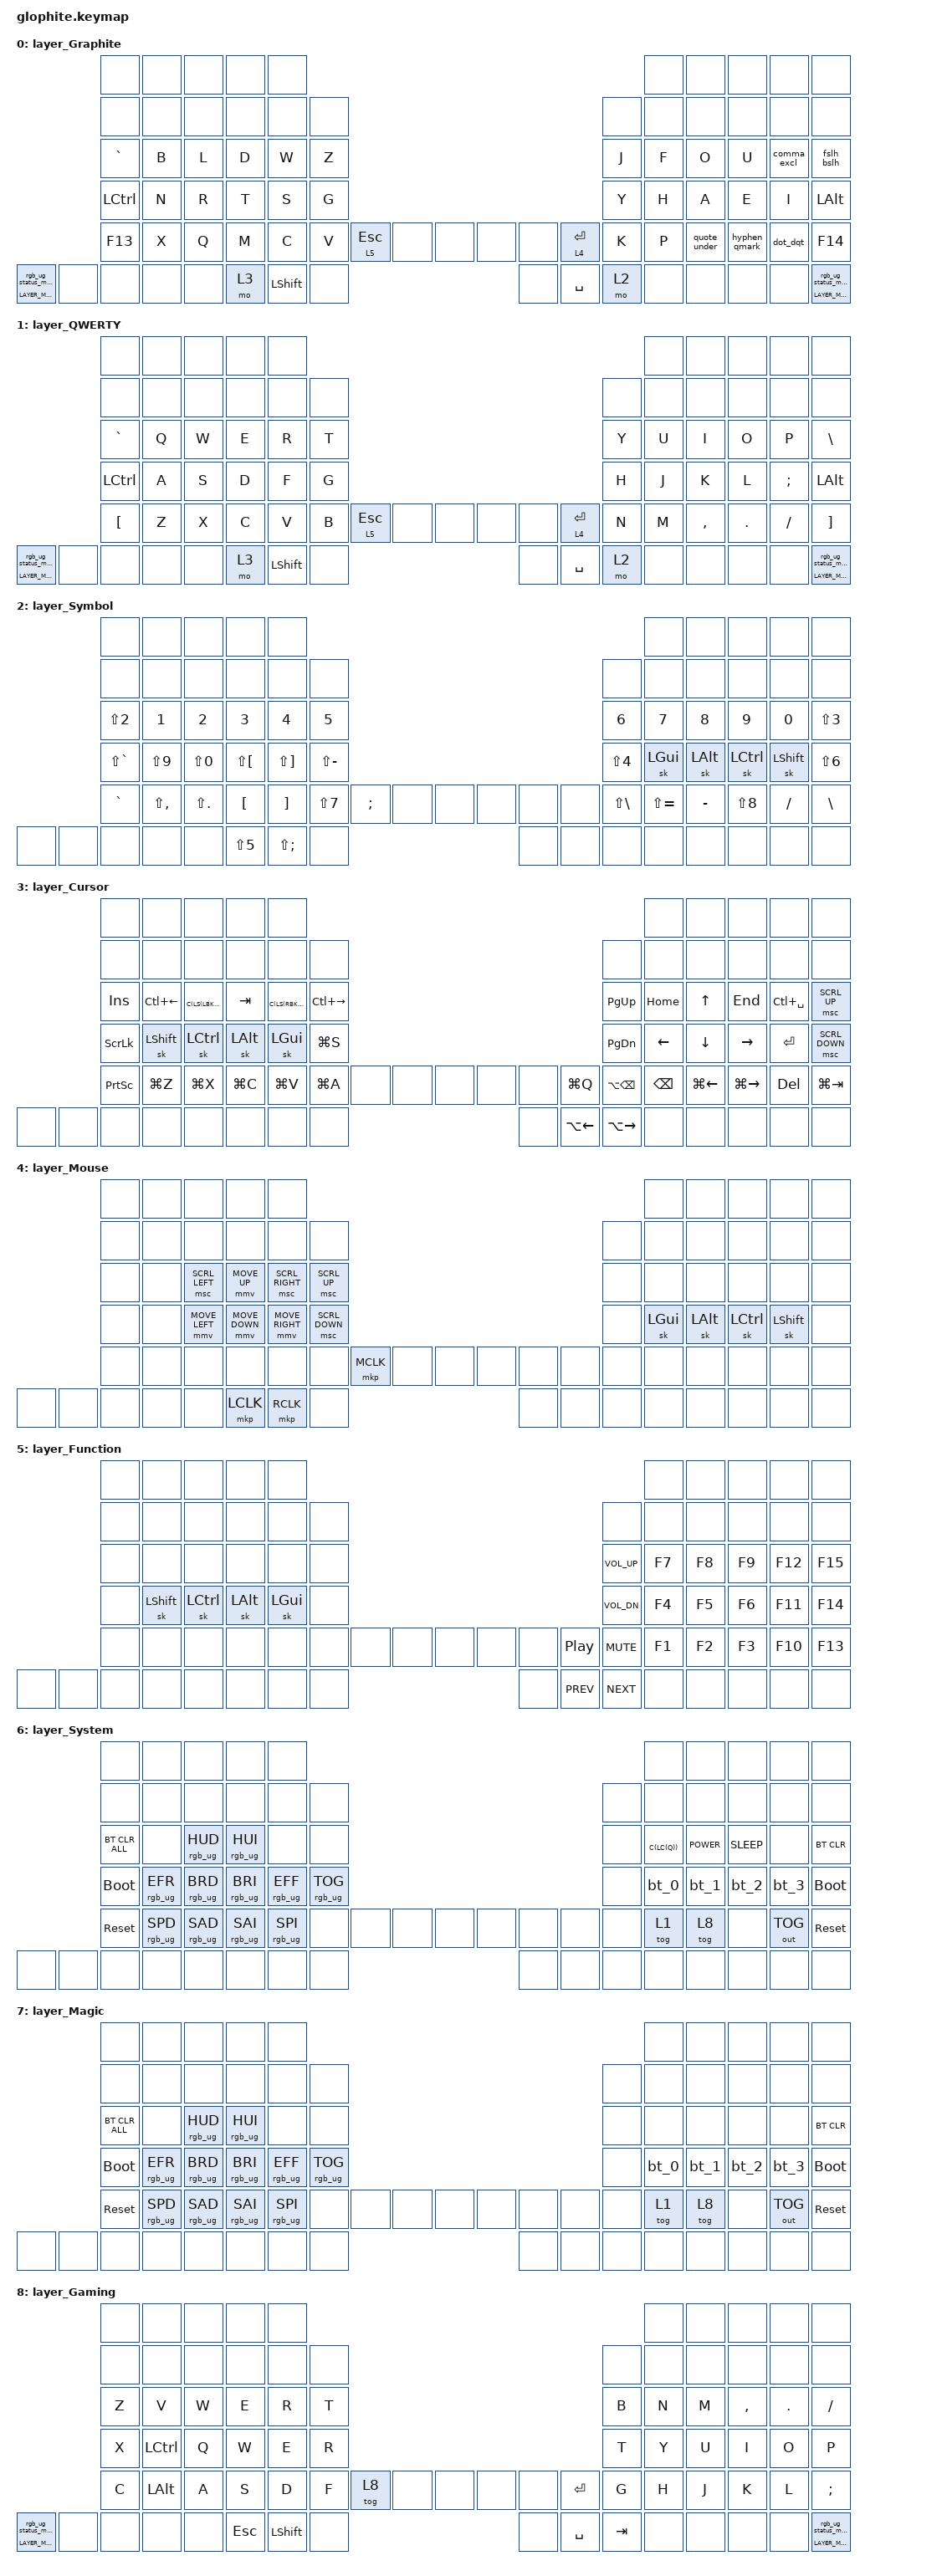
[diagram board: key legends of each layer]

/*
 * Copyright (c) 2020 The ZMK Contributors
 * Copyright (c) 2023 Innaworks Development Limited, trading as MoErgo
 *
 * SPDX-License-Identifier: MIT
 */


/* THIS FILE WAS GENERATED BY GLOVE80 LAYOUT EDITOR
 *
 * This file was generated automatically. You may or may not want to
 * edit it directly.
 */

#include <behaviors.dtsi>
/* Include all behaviour includes needed */
#include <dt-bindings/zmk/outputs.h>
#include <dt-bindings/zmk/keys.h>
#include <dt-bindings/zmk/bt.h>
#include <dt-bindings/zmk/rgb.h>

/* Automatically generated layer name #define */
#define LAYER_Graphite 0
#define LAYER_QWERTY 1
#define LAYER_Symbol 2
#define LAYER_Cursor 3
#define LAYER_Mouse 4
#define LAYER_Function 5
#define LAYER_System 6
#define LAYER_Magic 7
#define LAYER_Gaming 8

/* To deal with the situation where there is no Lower layer, to keep &lower happy */
#ifndef LAYER_Lower
#define LAYER_Lower 0
#endif

/* Custom Device-tree */



/* Glove80 system behavior & macros */
/ {
    behaviors {
        // For the "layer" key, it'd nice to be able to use it as either a shift or a toggle.
        // Configure it as a tap dance, so the first tap (or hold) is a &mo and the second tap is a &to
        lower: lower {
            compatible = "zmk,behavior-tap-dance";
            label = "LAYER_TAP_DANCE";
            #binding-cells = <0>;
            tapping-term-ms = <200>;
            bindings = <&mo LAYER_Lower>, <&to LAYER_Lower>;
        };
    };
};

/ {
    macros {
        rgb_ug_status_macro: rgb_ug_status_macro {
            label = "RGB_UG_STATUS";
            compatible = "zmk,behavior-macro";
            #binding-cells = <0>;
            bindings
                = <&rgb_ug RGB_STATUS>;
        };
    };
};


/ {
#ifdef BT_DISC_CMD
    behaviors {
        bt_0: bt_0 {
            compatible = "zmk,behavior-tap-dance";
            label = "BT_0";
            #binding-cells = <0>;
            tapping-term-ms = <200>;
            bindings = <&bt_select_0>, <&bt BT_DISC 0>;
        };
        bt_1: bt_1 {
            compatible = "zmk,behavior-tap-dance";
            label = "BT_1";
            #binding-cells = <0>;
            tapping-term-ms = <200>;
            bindings = <&bt_select_1>, <&bt BT_DISC 1>;
        };
        bt_2: bt_2 {
            compatible = "zmk,behavior-tap-dance";
            label = "BT_2";
            #binding-cells = <0>;
            tapping-term-ms = <200>;
            bindings = <&bt_select_2>, <&bt BT_DISC 2>;
        };
        bt_3: bt_3 {
            compatible = "zmk,behavior-tap-dance";
            label = "BT_3";
            #binding-cells = <0>;
            tapping-term-ms = <200>;
            bindings = <&bt_select_3>, <&bt BT_DISC 3>;
        };
    };
    macros {
        bt_select_0: bt_select_0 {
            label = "BT_SELECT_0";
            compatible = "zmk,behavior-macro";
            #binding-cells = <0>;
            bindings
                = <&out OUT_BLE>,
                  <&bt BT_SEL 0>;
        };
        bt_select_1: bt_select_1 {
            label = "BT_SELECT_1";
            compatible = "zmk,behavior-macro";
            #binding-cells = <0>;
            bindings
                = <&out OUT_BLE>,
                  <&bt BT_SEL 1>;
        };
        bt_select_2: bt_select_2 {
            label = "BT_SELECT_2";
            compatible = "zmk,behavior-macro";
            #binding-cells = <0>;
            bindings
                = <&out OUT_BLE>,
                  <&bt BT_SEL 2>;
        };
        bt_select_3: bt_select_3 {
            label = "BT_SELECT_3";
            compatible = "zmk,behavior-macro";
            #binding-cells = <0>;
            bindings
                = <&out OUT_BLE>,
                  <&bt BT_SEL 3>;
        };
    };
#else
    macros {
        bt_0: bt_0 {
            label = "BT_0";
            compatible = "zmk,behavior-macro";
            #binding-cells = <0>;
            bindings
                = <&out OUT_BLE>,
                  <&bt BT_SEL 0>;
        };
        bt_1: bt_1 {
            label = "BT_1";
            compatible = "zmk,behavior-macro";
            #binding-cells = <0>;
            bindings
                = <&out OUT_BLE>,
                  <&bt BT_SEL 1>;
        };
        bt_2: bt_2 {
            label = "BT_2";
            compatible = "zmk,behavior-macro";
            #binding-cells = <0>;
            bindings
                = <&out OUT_BLE>,
                  <&bt BT_SEL 2>;
        };
        bt_3: bt_3 {
            label = "BT_3";
            compatible = "zmk,behavior-macro";
            #binding-cells = <0>;
            bindings
                = <&out OUT_BLE>,
                  <&bt BT_SEL 3>;
        };
    };
#endif
};

/ {
    behaviors {
        magic: magic {
            compatible = "zmk,behavior-hold-tap";
            label = "MAGIC_HOLD_TAP";
            #binding-cells = <2>;
            flavor = "tap-preferred";
            tapping-term-ms = <200>;
            bindings = <&mo>, <&rgb_ug_status_macro>;
        };
    };
};

/* #define for key positions */
#define POS_LH_T1 52
#define POS_LH_T2 53
#define POS_LH_T3 54
#define POS_LH_T4 69
#define POS_LH_T5 70
#define POS_LH_T6 71
#define POS_LH_C1R2 15
#define POS_LH_C1R3 27
#define POS_LH_C1R4 39
#define POS_LH_C1R5 51
#define POS_LH_C2R1 4
#define POS_LH_C2R2 14
#define POS_LH_C2R3 26
#define POS_LH_C2R4 38
#define POS_LH_C2R5 50
#define POS_LH_C2R6 68
#define POS_LH_C3R1 3
#define POS_LH_C3R2 13
#define POS_LH_C3R3 25
#define POS_LH_C3R4 37
#define POS_LH_C3R5 49
#define POS_LH_C3R6 67
#define POS_LH_C4R1 2
#define POS_LH_C4R2 12
#define POS_LH_C4R3 24
#define POS_LH_C4R4 36
#define POS_LH_C4R5 48
#define POS_LH_C4R6 66
#define POS_LH_C5R1 1
#define POS_LH_C5R2 11
#define POS_LH_C5R3 23
#define POS_LH_C5R4 35
#define POS_LH_C5R5 47
#define POS_LH_C5R6 65
#define POS_LH_C6R1 0
#define POS_LH_C6R2 10
#define POS_LH_C6R3 22
#define POS_LH_C6R4 34
#define POS_LH_C6R5 46
#define POS_LH_C6R6 64
#define POS_RH_T1 57
#define POS_RH_T2 56
#define POS_RH_T3 55
#define POS_RH_T4 74
#define POS_RH_T5 73
#define POS_RH_T6 72
#define POS_RH_C1R2 16
#define POS_RH_C1R3 28
#define POS_RH_C1R4 40
#define POS_RH_C1R5 58
#define POS_RH_C2R1 5
#define POS_RH_C2R2 17
#define POS_RH_C2R3 29
#define POS_RH_C2R4 41
#define POS_RH_C2R5 59
#define POS_RH_C2R6 75
#define POS_RH_C3R1 6
#define POS_RH_C3R2 18
#define POS_RH_C3R3 30
#define POS_RH_C3R4 42
#define POS_RH_C3R5 60
#define POS_RH_C3R6 76
#define POS_RH_C4R1 7
#define POS_RH_C4R2 19
#define POS_RH_C4R3 31
#define POS_RH_C4R4 43
#define POS_RH_C4R5 61
#define POS_RH_C4R6 77
#define POS_RH_C5R1 8
#define POS_RH_C5R2 20
#define POS_RH_C5R3 32
#define POS_RH_C5R4 44
#define POS_RH_C5R5 62
#define POS_RH_C5R6 78
#define POS_RH_C6R1 9
#define POS_RH_C6R2 21
#define POS_RH_C6R3 33
#define POS_RH_C6R4 45
#define POS_RH_C6R5 63
#define POS_RH_C6R6 79

    /* Custom Defined Behaviors */
/ {
    #ifndef OPERATING_SYSTEM
//#define OPERATING_SYSTEM 1 // linux
#define OPERATING_SYSTEM 2 // macos
//#define OPERATING_SYSTEM 3 // windows
#endif
#if OPERATING_SYSTEM == 2
    #define _C      LG
    #define _REDO   _C(LS(Z))
    #define _POWER  K_POWER
    #define _W      LA
    #define _HOME   _C(LEFT)
    #define _END    _C(RIGHT)
    #define SPC_P   LC(LEFT)
    #define SPC_N   LC(RIGHT)
    #define TAB_P   _C(LS(LBKT))
    #define TAB_N   _C(LS(RBKT))
#else
    #define _C      LC
    #define _REDO   _C(Y)
    #define _POWER  C_POWER
    #define _W      _C
    #define _HOME   HOME
    #define _END    END
#endif
#define _SLEEP      C_SLEEP
#if OPERATING_SYSTEM == 3
    #define _LOCK   LG(L)
#elif OPERATING_SYSTEM == 2
    #define _LOCK   _C(LC(Q))
#elif OPERATING_SYSTEM == 1
    #define _LOCK   K_LOCK
#endif
#define _UNDO       _C(Z)
#define _CUT        _C(X)
#define _COPY       _C(C)
#define _PASTE      _C(V)
#define _FIND       _C(F)
#define _FIND_NEXT  _C(G)
#define _FIND_PREV  _C(LS(G))

//
// Glove80 specific symbol overrides to support non "en-US" locales
//
#undef  AMPS
#define AMPS  LS(N7)
#undef  AT
#define AT    LS(N2)
#undef  CARET
#define CARET LS(N6)
#undef  COLON
#define COLON LS(SEMI)
#undef  DLLR
#define DLLR  LS(N4)
#undef  DQT
#define DQT   LS(SQT)
#undef  EXCL
#define EXCL  LS(N1)
#undef  GT
#define GT    LS(DOT)
#undef  HASH
#define HASH  LS(N3)
#undef  LBRC
#define LBRC  LS(LBKT)
#undef  LPAR
#define LPAR  LS(N9)
#undef  LT
#define LT    LS(COMMA)
#undef  PIPE
#define PIPE  LS(BSLH)
#undef  PLUS
#define PLUS  LS(EQUAL)
#undef  PRCNT
#define PRCNT LS(N5)
#undef  QMARK
#define QMARK LS(FSLH)
#undef  RBRC
#define RBRC  LS(RBKT)
#undef  RPAR
#define RPAR  LS(N0)
#undef  STAR
#define STAR  LS(N8)
#undef  TILDE
#define TILDE LS(GRAVE)
#undef  UNDER
#define UNDER LS(MINUS)


// TODO: add QWERTY, and possibly other layouts to test
#define ALPHA_LAYERS 0 1

#define COMBO_TIMEOUT_MS 75

/*                    Keys
╭──────────────────────╮ ╭──────────────────────╮
│x  x  x  x  x         │ │         x  x  x  x  x│
│xx xx xx xx xx xx     │ │     xx xx xx xx xx xx│
│22 23 24 25 26 27     │ │     28 29 30 31 32 33│
│34 35 36 37 38 39     │ │     40 41 42 43 44 45│
│46 47 48 49 50 51     │ │     58 59 60 61 62 63│
│xx xx xx xx xx        │ │        xx xx xx xx xx│
│               69 52  │ │  57 74               │
│                70 xx │ │ xx 73                │
╰───────────────╮ xx xx│ │xx xx ╭───────────────╯
                ╰──────╯ ╰──────╯              */

combos {
  compatible = "zmk,combos";

  combo_caps {
    bindings = <&w_caps>;
    key-positions = <39 40>;
    layers = <ALPHA_LAYERS>;
    timeout-ms = <COMBO_TIMEOUT_MS>;
  };



  combo_tab {
    bindings = <&kp TAB>;
    key-positions = <47 48>;
    layers = <ALPHA_LAYERS>;
    timeout-ms = <COMBO_TIMEOUT_MS>;
  };

  combo_bspc {
    bindings = <&kp BSPC>;
    key-positions = <61 62>;
    layers = <ALPHA_LAYERS>;
    timeout-ms = <COMBO_TIMEOUT_MS>;
  };



  combo_cmd {
    bindings = <&kp LGUI>;
    key-positions = <69 70>;
    layers = <ALPHA_LAYERS>;
    timeout-ms = <COMBO_TIMEOUT_MS>;
  };

  combo_shft {
    bindings = <&kp LSHFT>;
    key-positions = <73 74>;
    layers = <ALPHA_LAYERS>;
    timeout-ms = <COMBO_TIMEOUT_MS>;
  };



  combo_sys_layer {
    bindings = <&mo 6>;
    key-positions = <52 57>;
    layers = <ALPHA_LAYERS>;
    timeout-ms = <COMBO_TIMEOUT_MS>;
  };

  tog_qwerty_layout {
    bindings = <&tog 1>;
    key-positions = <22 33>;
    layers = <ALPHA_LAYERS>;
    timeout-ms = <COMBO_TIMEOUT_MS>;
  };

  tog_gaming_layout {
    bindings = <&tog 8>;
    key-positions = <46 63>;
    layers = <ALPHA_LAYERS>;
    timeout-ms = <COMBO_TIMEOUT_MS>;
  };
};

behaviors {
  w_caps: capsword_and_capslock {
      compatible = "zmk,behavior-mod-morph";
      label = "CAPSWORD_AND_CAPSLOCK";
      #binding-cells = <0>;
      bindings = <&caps_word>, <&kp CAPS>;
      mods = <(MOD_LSFT|MOD_RSFT)>;
  };

  quote_under: quote_and_underscore {
      compatible = "zmk,behavior-mod-morph";
      label = "QUOTE_AND_UNDERSCORE";
      #binding-cells = <0>;
      bindings = <&kp SQT>, <&kp UNDER>;
      mods = <(MOD_LSFT|MOD_RSFT)>;
  };

  hyphen_qmark: hyphen_and_question {
      compatible = "zmk,behavior-mod-morph";
      label = "HYPHEN_AND_QUESTION";
      #binding-cells = <0>;
      bindings = <&kp MINUS>, <&kp QMARK>;
      mods = <(MOD_LSFT|MOD_RSFT)>;
  };

  comma_excl: comma_and_excl {
      compatible = "zmk,behavior-mod-morph";
      label = "COMMA_AND_EXCL";
      #binding-cells = <0>;
      bindings = <&kp COMMA>, <&kp EXCL>;
      mods = <(MOD_LSFT|MOD_RSFT)>;
  };

  dot_dqt: dot_and_dqt {
      compatible = "zmk,behavior-mod-morph";
      label = "DOT_AND_DQT";
      #binding-cells = <0>;
      bindings = <&kp DOT>, <&kp DQT>;
      mods = <(MOD_LSFT|MOD_RSFT)>;
  };

  fslh_bslh: fslh_and_bslh {
      compatible = "zmk,behavior-mod-morph";
      label = "FSLH_AND_BSLH";
      #binding-cells = <0>;
      bindings = <&kp FSLH>, <&kp BSLH>;
      mods = <(MOD_LSFT|MOD_RSFT)>;
  };

  //////////////////////////////////////////////////////////////////////////
  //
  // ZMK global overrides
  //
  //////////////////////////////////////////////////////////////////////////

  //
  // CapsWord - ported from Pascal Getreuer's extension for QMK
  // - https://zmk.dev/docs/behaviors/caps-word
  // - https://getreuer.info/posts/keyboards/caps-word/index.html
  //
  behavior_caps_word {
      continue-list = <
          UNDERSCORE MINUS
          BACKSPACE DELETE
          N1 N2 N3 N4 N5 N6 N7 N8 N9 N0
      >;
  };
};

macros {
    //////////////////////////////////////////////////////////////////////////
    //
    // Approximation of Pascal Getreuer's Select Word macro from QMK
    // - https://getreuer.info/posts/keyboards/select-word/index.html
    //
    //////////////////////////////////////////////////////////////////////////

    //
    // SELECT_WORD_DELAY defines how long the macro waits (milliseconds)
    // after moving the cursor before it selects a word.  A larger delay
    // may allow the macro to move to the next word upon each invocation.
    //
    #ifndef SELECT_WORD_DELAY
    #define SELECT_WORD_DELAY 1
    #endif

    ZMK_MACRO(select_none,
        wait-ms = <SELECT_WORD_DELAY>;
        tap-ms = <SELECT_WORD_DELAY>;
        bindings = <&kp DOWN &kp UP &kp RIGHT &kp LEFT>;
    )

    //
    // select a word (jumps to next word upon each successive invocation)
    //
    select_word: select_word {
        compatible = "zmk,behavior-mod-morph";
        #binding-cells = <0>;
        bindings = <&select_word_right>, <&select_word_left>;
        mods = <(MOD_LSFT|MOD_RSFT)>;
    };
    ZMK_MACRO(select_word_right,
        wait-ms = <SELECT_WORD_DELAY>;
        tap-ms = <SELECT_WORD_DELAY>;
        bindings = <&kp _W(RIGHT) &kp _W(LEFT) &kp _W(LS(RIGHT))>;
    )
    ZMK_MACRO(select_word_left,
        wait-ms = <SELECT_WORD_DELAY>;
        tap-ms = <SELECT_WORD_DELAY>;
        bindings = <&kp _W(LEFT) &kp _W(RIGHT) &kp _W(LS(LEFT))>;
    )

    //
    // extend current selection by one word
    //
    extend_word: extend_word {
        compatible = "zmk,behavior-mod-morph";
        #binding-cells = <0>;
        bindings = <&extend_word_right>, <&extend_word_left>;
        mods = <(MOD_LSFT|MOD_RSFT)>;
    };
    ZMK_MACRO(extend_word_right,
        wait-ms = <SELECT_WORD_DELAY>;
        tap-ms = <SELECT_WORD_DELAY>;
        bindings = <&kp _W(LS(RIGHT))>;
    )
    ZMK_MACRO(extend_word_left,
        wait-ms = <SELECT_WORD_DELAY>;
        tap-ms = <SELECT_WORD_DELAY>;
        bindings = <&kp _W(LS(LEFT))>;
    )

    //
    // select current line
    //
    select_line: select_line {
        compatible = "zmk,behavior-mod-morph";
        #binding-cells = <0>;
        bindings = <&select_line_right>, <&select_line_left>;
        mods = <(MOD_LSFT|MOD_RSFT)>;
    };
    ZMK_MACRO(select_line_right,
        wait-ms = <SELECT_WORD_DELAY>;
        tap-ms = <SELECT_WORD_DELAY>;
        bindings = <&kp _HOME &kp LS(_END)>;
    )
    ZMK_MACRO(select_line_left,
        wait-ms = <SELECT_WORD_DELAY>;
        tap-ms = <SELECT_WORD_DELAY>;
        bindings = <&kp _END &kp LS(_HOME)>;
    )

    //
    // extend current selection by one line
    //
    extend_line: extend_line {
        compatible = "zmk,behavior-mod-morph";
        #binding-cells = <0>;
        bindings = <&extend_line_right>, <&extend_line_left>;
        mods = <(MOD_LSFT|MOD_RSFT)>;
    };
    ZMK_MACRO(extend_line_right,
        wait-ms = <SELECT_WORD_DELAY>;
        tap-ms = <SELECT_WORD_DELAY>;
        bindings = <&kp LS(DOWN) &kp LS(_END)>;
    )
    ZMK_MACRO(extend_line_left,
        wait-ms = <SELECT_WORD_DELAY>;
        tap-ms = <SELECT_WORD_DELAY>;
        bindings = <&kp LS(UP) &kp LS(_HOME)>;
    )
};

//////////////////////////////////////////////////////////////////////////
//
// Mouse keys (control mouse via keyboard) -- requires PR23 beta firmware:
// select "community.pr23.mouse-keys" from the drop-down menu located at
// Glove80 Layout Editor > Settings > Advanced Settings > Firmware Version
//
// - https://github.com/moergo-sc/zmk/pull/23
// - https://gist.github.com/krissen/dd27082e7ab0575619c7a31f4d2ec7ae
// - https://github.com/zmkfirmware/zmk/compare/main...urob:zmk:mouse-3.2
//
//////////////////////////////////////////////////////////////////////////

//
// MOUSE_MOTION_DELAY defines how long to wait (milliseconds) before starting
// to move the mouse pointer.
//
#ifndef MOUSE_MOTION_DELAY
#define MOUSE_MOTION_DELAY 0
#endif

//
// MOUSE_MOTION_ACCELERATION_EXPONENT sets how the mouse pointer accelerates:
//
// acceleration exponent 0: uniform speed
// acceleration exponent 1: uniform acceleration
// acceleration exponent 2: uniform jerk
//
#ifndef MOUSE_MOTION_ACCELERATION_EXPONENT
#define MOUSE_MOTION_ACCELERATION_EXPONENT 1
#endif

//
// MOUSE_MOTION_TIME_TO_MAXIMUM_SPEED defines how long to wait (milliseconds)
// before the mouse pointer speed is suddenly boosted to the maximum value.
//
#ifndef MOUSE_MOTION_TIME_TO_MAXIMUM_SPEED
#define MOUSE_MOTION_TIME_TO_MAXIMUM_SPEED 400
#endif

//
// MOUSE_MOTION_MAXIMUM_SPEED defines how quickly the mouse pointer can move.
//
#ifndef MOUSE_MOTION_MAXIMUM_SPEED
#define MOUSE_MOTION_MAXIMUM_SPEED 1600
#endif

//
// MOUSE_SCROLL_DELAY defines how long to wait (milliseconds) before starting
// to move the mouse pointer.
//
#ifndef MOUSE_SCROLL_DELAY
#define MOUSE_SCROLL_DELAY 0
#endif

//
// MOUSE_SCROLL_ACCELERATION_EXPONENT sets how the mouse pointer accelerates:
//
// acceleration exponent 0: uniform speed
// acceleration exponent 1: uniform acceleration
// acceleration exponent 2: uniform jerk
//
#ifndef MOUSE_SCROLL_ACCELERATION_EXPONENT
#define MOUSE_SCROLL_ACCELERATION_EXPONENT 0
#endif

//
// MOUSE_SCROLL_TIME_TO_MAXIMUM_SPEED defines how long to wait (milliseconds)
// before the mouse pointer speed is suddenly boosted to the maximum value.
//
#ifndef MOUSE_SCROLL_TIME_TO_MAXIMUM_SPEED
#define MOUSE_SCROLL_TIME_TO_MAXIMUM_SPEED 200
#endif

//
// MOUSE_SCROLL_MAXIMUM_SPEED defines how quickly the mouse wheel can scroll.
//
#ifndef MOUSE_SCROLL_MAXIMUM_SPEED
#define MOUSE_SCROLL_MAXIMUM_SPEED 20
#endif

/*HACK*/};
// ==== MOUSE-KEY <section begins> ====
#define ZMK_MOUSE_DEFAULT_MOVE_VAL MOUSE_MOTION_MAXIMUM_SPEED
#define ZMK_MOUSE_DEFAULT_SCRL_VAL MOUSE_SCROLL_MAXIMUM_SPEED
#include <dt-bindings/zmk/mouse.h>
&mmv {
  delay-ms = <MOUSE_MOTION_DELAY>;
  acceleration-exponent = <MOUSE_MOTION_ACCELERATION_EXPONENT>;
  time-to-max-speed-ms = <MOUSE_MOTION_TIME_TO_MAXIMUM_SPEED>;
};
&msc {
  delay-ms = <MOUSE_SCROLL_DELAY>;
  acceleration-exponent = <MOUSE_SCROLL_ACCELERATION_EXPONENT>;
  time-to-max-speed-ms = <MOUSE_SCROLL_TIME_TO_MAXIMUM_SPEED>;
};
// ==== MOUSE-KEY <section ends> =====
/*HACK*//{
};

    /* Automatically generated keymap */
/ {
    keymap {
        compatible = "zmk,keymap";


        layer_Graphite {
            bindings = <
                &none   &none   &none   &none   &none                                                                               &none         &none          &none        &none                 &none
                &none   &none   &none   &none   &none   &none                                                               &none   &none         &none          &none        &none                 &none
            &kp GRAVE   &kp B   &kp L   &kp D   &kp W   &kp Z                                                               &kp J   &kp F         &kp O          &kp U  &comma_excl            &fslh_bslh
            &kp LCTRL   &kp N   &kp R   &kp T   &kp S   &kp G                                                               &kp Y   &kp H         &kp A          &kp E        &kp I              &kp LALT
              &kp F13   &kp X   &kp Q   &kp M   &kp C   &kp V  &lt 5 ESC      &none   &none   &none      &none  &lt 4 RET   &kp K   &kp P  &quote_under  &hyphen_qmark     &dot_dqt               &kp F14
 &magic LAYER_Magic 0   &none   &none   &none   &none              &mo 3  &kp LSHFT   &none   &none  &kp SPACE      &mo 2           &none         &none          &none        &none  &magic LAYER_Magic 0
            >;
        };

        layer_QWERTY {
            bindings = <
                &none   &none   &none   &none   &none                                                                               &none      &none    &none     &none                 &none
                &none   &none   &none   &none   &none   &none                                                               &none   &none      &none    &none     &none                 &none
            &kp GRAVE   &kp Q   &kp W   &kp E   &kp R   &kp T                                                               &kp Y   &kp U      &kp I    &kp O     &kp P              &kp BSLH
            &kp LCTRL   &kp A   &kp S   &kp D   &kp F   &kp G                                                               &kp H   &kp J      &kp K    &kp L  &kp SEMI              &kp LALT
             &kp LBKT   &kp Z   &kp X   &kp C   &kp V   &kp B  &lt 5 ESC      &none   &none   &none      &none  &lt 4 RET   &kp N   &kp M  &kp COMMA  &kp DOT  &kp FSLH              &kp RBKT
 &magic LAYER_Magic 0   &none   &none   &none   &none              &mo 3  &kp LSHFT   &none   &none  &kp SPACE      &mo 2           &none      &none    &none     &none  &magic LAYER_Magic 0
            >;
        };

        layer_Symbol {
            bindings = <
     &none     &none     &none     &none     &none                                                                                &none      &none      &none      &none      &none
     &none     &none     &none     &none     &none      &none                                                           &none     &none      &none      &none      &none      &none
    &kp AT    &kp N1    &kp N2    &kp N3    &kp N4     &kp N5                                                          &kp N6    &kp N7     &kp N8     &kp N9     &kp N0   &kp HASH
 &kp TILDE  &kp LPAR  &kp RPAR  &kp LBRC  &kp RBRC  &kp UNDER                                                        &kp DLLR  &sk LGUI   &sk LALT  &sk LCTRL  &sk LSHFT  &kp CARET
 &kp GRAVE    &kp LT    &kp GT  &kp LBKT  &kp RBKT   &kp AMPS   &kp SEMI      &none   &none   &none   &none   &none  &kp PIPE  &kp PLUS  &kp MINUS   &kp STAR   &kp FSLH   &kp BSLH
     &none     &none     &none     &none     &none             &kp PRCNT  &kp COLON   &none   &none   &none   &none               &none      &none      &none      &none      &none
            >;
        };

        layer_Cursor {
            bindings = <
     &none      &none      &none      &none      &none                                                                                           &none         &none          &none          &none           &none
     &none      &none      &none      &none      &none      &none                                                                      &none     &none         &none          &none          &none           &none
   &kp INS  &kp SPC_P  &kp TAB_P    &kp TAB  &kp TAB_N  &kp SPC_N                                                                  &kp PG_UP  &kp HOME        &kp UP        &kp END  &kp LC(SPACE)    &msc SCRL_UP
  &kp SLCK  &sk LSHFT  &sk LCTRL   &sk LALT   &sk LGUI  &kp LG(S)                                                                  &kp PG_DN  &kp LEFT      &kp DOWN      &kp RIGHT        &kp RET  &msc SCRL_DOWN
 &kp PSCRN  &kp LG(Z)  &kp LG(X)  &kp LG(C)  &kp LG(V)  &kp LG(A)   &none   &none   &none   &none         &none      &kp LG(Q)  &kp LA(BSPC)  &kp BSPC  &kp LG(LEFT)  &kp LG(RIGHT)        &kp DEL     &kp LG(TAB)
     &none      &none      &none      &none      &none              &none   &none   &none   &none  &kp LA(LEFT)  &kp LA(RIGHT)                   &none         &none          &none          &none           &none
            >;
        };

        layer_Mouse {
            bindings = <
  &none   &none           &none           &none            &none                                                                                   &none     &none      &none      &none   &none
  &none   &none           &none           &none            &none           &none                                                         &none     &none     &none      &none      &none   &none
  &none   &none  &msc SCRL_LEFT    &mmv MOVE_UP  &msc SCRL_RIGHT    &msc SCRL_UP                                                         &none     &none     &none      &none      &none   &none
  &none   &none  &mmv MOVE_LEFT  &mmv MOVE_DOWN  &mmv MOVE_RIGHT  &msc SCRL_DOWN                                                         &none  &sk LGUI  &sk LALT  &sk LCTRL  &sk LSHFT   &none
  &none   &none           &none           &none            &none           &none  &mkp MCLK      &none   &none   &none   &none   &none   &none     &none     &none      &none      &none   &none
  &none   &none           &none           &none            &none                  &mkp LCLK  &mkp RCLK   &none   &none   &none   &none             &none     &none      &none      &none   &none
            >;
        };

        layer_Function {
            bindings = <
  &none      &none      &none     &none     &none                                                                                 &none   &none   &none    &none    &none
  &none      &none      &none     &none     &none   &none                                                                 &none   &none   &none   &none    &none    &none
  &none      &none      &none     &none     &none   &none                                                          &kp C_VOL_UP  &kp F7  &kp F8  &kp F9  &kp F12  &kp F15
  &none  &sk LSHFT  &sk LCTRL  &sk LALT  &sk LGUI   &none                                                          &kp C_VOL_DN  &kp F4  &kp F5  &kp F6  &kp F11  &kp F14
  &none      &none      &none     &none     &none   &none   &none   &none   &none   &none       &none    &kp C_PP    &kp C_MUTE  &kp F1  &kp F2  &kp F3  &kp F10  &kp F13
  &none      &none      &none     &none     &none           &none   &none   &none   &none  &kp C_PREV  &kp C_NEXT                 &none   &none   &none    &none    &none
            >;
        };

        layer_System {
            bindings = <
          &none            &none            &none            &none            &none                                                                               &none       &none       &none         &none        &none
          &none            &none            &none            &none            &none            &none                                                   &none      &none       &none       &none         &none        &none
 &bt BT_CLR_ALL            &none  &rgb_ug RGB_HUD  &rgb_ug RGB_HUI            &none            &none                                                   &none  &kp _LOCK  &kp _POWER  &kp _SLEEP         &none   &bt BT_CLR
    &bootloader  &rgb_ug RGB_EFR  &rgb_ug RGB_BRD  &rgb_ug RGB_BRI  &rgb_ug RGB_EFF  &rgb_ug RGB_TOG                                                   &none      &bt_0       &bt_1       &bt_2         &bt_3  &bootloader
     &sys_reset  &rgb_ug RGB_SPD  &rgb_ug RGB_SAD  &rgb_ug RGB_SAI  &rgb_ug RGB_SPI            &none   &none   &none   &none   &none   &none   &none   &none     &tog 1      &tog 8       &none  &out OUT_TOG   &sys_reset
          &none            &none            &none            &none            &none                    &none   &none   &none   &none   &none   &none              &none       &none       &none         &none        &none
            >;
        };

        layer_Magic {
            bindings = <
          &none            &none            &none            &none            &none                                                                            &none   &none   &none         &none        &none
          &none            &none            &none            &none            &none            &none                                                   &none   &none   &none   &none         &none        &none
 &bt BT_CLR_ALL            &none  &rgb_ug RGB_HUD  &rgb_ug RGB_HUI            &none            &none                                                   &none   &none   &none   &none         &none   &bt BT_CLR
    &bootloader  &rgb_ug RGB_EFR  &rgb_ug RGB_BRD  &rgb_ug RGB_BRI  &rgb_ug RGB_EFF  &rgb_ug RGB_TOG                                                   &none   &bt_0   &bt_1   &bt_2         &bt_3  &bootloader
     &sys_reset  &rgb_ug RGB_SPD  &rgb_ug RGB_SAD  &rgb_ug RGB_SAI  &rgb_ug RGB_SPI            &none   &none   &none   &none   &none   &none   &none   &none  &tog 1  &tog 8   &none  &out OUT_TOG   &sys_reset
          &none            &none            &none            &none            &none                    &none   &none   &none   &none   &none   &none           &none   &none   &none         &none        &none
            >;
        };

        layer_Gaming {
            bindings = <
                &none      &none   &none   &none   &none                                                                           &none   &none      &none    &none                 &none
                &none      &none   &none   &none   &none   &none                                                           &none   &none   &none      &none    &none                 &none
                &kp Z      &kp V   &kp W   &kp E   &kp R   &kp T                                                           &kp B   &kp N   &kp M  &kp COMMA  &kp DOT              &kp FSLH
                &kp X  &kp LCTRL   &kp Q   &kp W   &kp E   &kp R                                                           &kp T   &kp Y   &kp U      &kp I    &kp O                 &kp P
                &kp C   &kp LALT   &kp A   &kp S   &kp D   &kp F   &tog 8      &none   &none   &none      &none  &kp RET   &kp G   &kp H   &kp J      &kp K    &kp L              &kp SEMI
 &magic LAYER_Magic 0      &none   &none   &none   &none          &kp ESC  &kp LSHFT   &none   &none  &kp SPACE  &kp TAB           &none   &none      &none    &none  &magic LAYER_Magic 0
            >;
        };

    };
};
